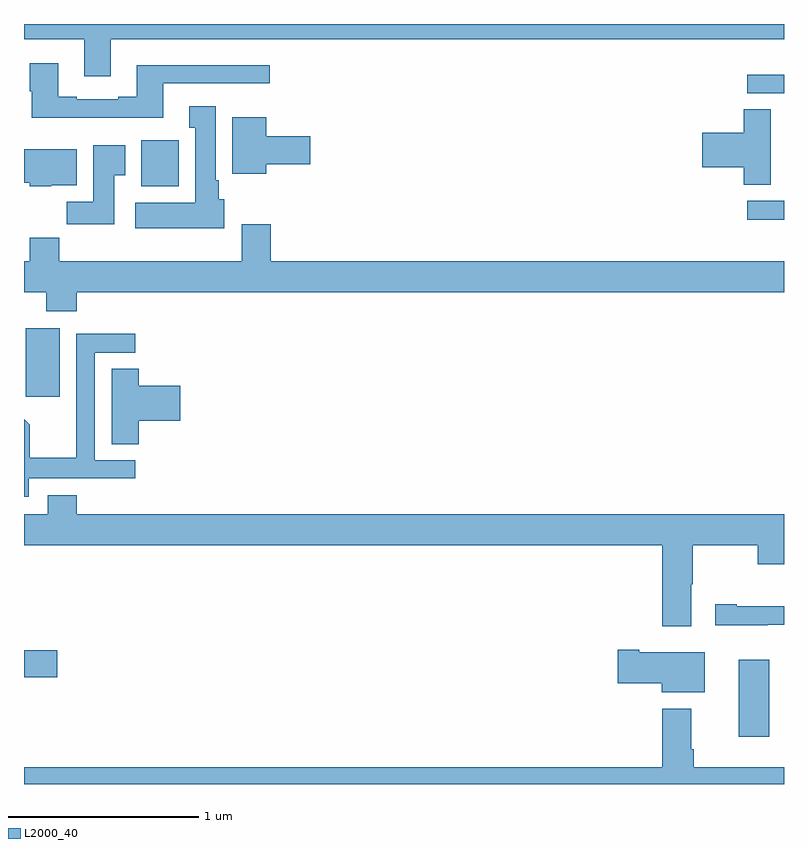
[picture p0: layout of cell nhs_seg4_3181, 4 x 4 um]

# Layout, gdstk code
import gdstk
lib = gdstk.Library(unit=1e-6, precision=1e-09)
def R(c, l, rs):  # rectangles x0, y0, x1, y1
    for r in rs: c.add(gdstk.rectangle(r[:2], r[2:], *l))
def P(c, l, *ps):  # polygons
    for p in ps: c.add(gdstk.Polygon(p, *l))
L2000_40 = (2000, 40)

nhs_seg4_3181 = lib.new_cell('nhs_seg4_3181')
R(nhs_seg4_3181, L2000_40, [(282.761,793.149,282.922,793.555), (279,793.462,279.175,793.604), (279.008,794.937,279.187,795.298), (282.807,795.871,283,795.969), (279.617,796.046,279.814,796.288), (282.807,796.536,283,796.632)])
P(nhs_seg4_3181, L2000_40, [(279.457,796.82),(283,796.82),(283,796.9),(279,796.9),(279,796.82),(279.317,796.82),(279.317,796.626),(279.457,796.626)],
  [(279.733,796.587),(280.294,796.587),(280.294,796.684),(279.593,796.684),(279.593,796.516),(279.497,796.516),(279.497,796.503),(279.277,796.503),(279.277,796.516),(279.181,796.516),(279.181,796.693),(279.029,796.693),(279.029,796.545),(279.041,796.545),(279.041,796.406),(279.733,796.406)],
  [(280.054,795.978),(280.024,795.978),(280.024,796.078),(280.009,796.078),(280.009,796.468),(279.869,796.468),(279.869,796.355),(279.902,796.355),(279.902,795.958),(279.585,795.958),(279.585,795.824),(280.054,795.824)],
  [(282.931,796.451),(282.788,796.451),(282.788,796.328),(282.57,796.328),(282.57,796.145),(282.788,796.145),(282.788,796.054),(282.931,796.054)],
  [(280.276,796.163),(280.507,796.163),(280.507,796.31),(280.276,796.31),(280.276,796.408),(280.097,796.408),(280.097,796.112),(280.276,796.112)],
  [(279.475,796.105),(279.532,796.105),(279.532,796.261),(279.365,796.261),(279.365,795.964),(279.226,795.964),(279.226,795.846),(279.475,795.846)],
  [(279.144,796.052),(279.277,796.052),(279.277,796.24),(279,796.24),(279,796.064),(279.03,796.064),(279.03,796.046),(279.144,796.046)],
  [(279.029,795.776),(279.029,795.652),(279,795.652),(279,795.488),(279.118,795.488),(279.118,795.389),(279.278,795.389),(279.278,795.488),(283,795.488),(283,795.652),(280.298,795.652),(280.298,795.847),(280.145,795.847),(280.145,795.652),(279.185,795.652),(279.185,795.776)],
  [(279.024,794.508),(279.586,794.508),(279.586,794.604),(279.372,794.604),(279.372,795.171),(279.586,795.171),(279.586,795.27),(279.276,795.27),(279.276,794.84),(279.274,794.84),(279.274,794.617),(279.029,794.617),(279.029,794.791),(279,794.82),(279,794.411),(279.024,794.411)],
  [(279.605,794.813),(279.823,794.813),(279.823,794.996),(279.605,794.996),(279.605,795.086),(279.461,795.086),(279.461,794.689),(279.605,794.689)],
  [(282.511,793.952),(282.519,793.952),(282.519,794.156),(282.862,794.156),(282.862,794.057),(283,794.057),(283,794.32),(279.278,794.32),(279.278,794.419),(279.125,794.419),(279.125,794.32),(279,794.32),(279,794.156),(282.359,794.156),(282.359,793.731),(282.511,793.731)],
  [(282.914,793.737),(283,793.737),(283,793.836),(282.751,793.836),(282.751,793.846),(282.639,793.846),(282.639,793.736),(282.914,793.736)],
  [(282.583,793.594),(282.238,793.594),(282.238,793.607),(282.126,793.607),(282.126,793.429),(282.356,793.429),(282.356,793.382),(282.583,793.382)],
  [(283,792.988),(282.524,792.988),(282.524,793.084),(282.511,793.084),(282.511,793.297),(282.359,793.297),(282.359,792.988),(279,792.988),(279,792.9),(283,792.9)])

lib.write_gds('nhs_seg4_3181.gds')
